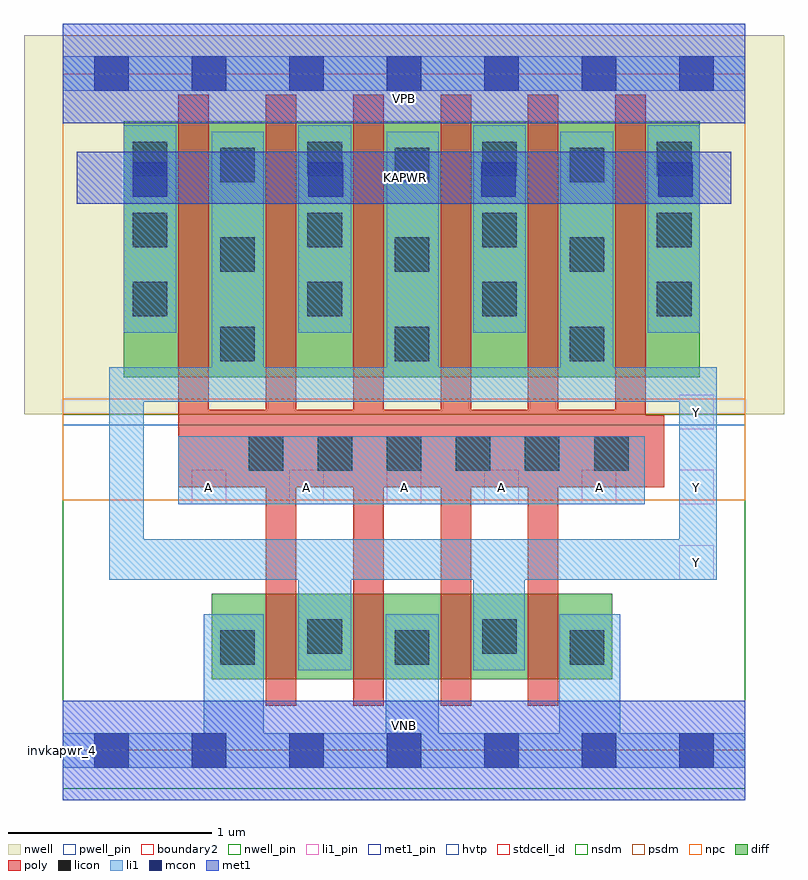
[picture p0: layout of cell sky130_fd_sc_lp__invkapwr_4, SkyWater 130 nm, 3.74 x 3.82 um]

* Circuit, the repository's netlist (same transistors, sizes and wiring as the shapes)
* Copyright 2020 The SkyWater PDK Authors
*
* Licensed under the Apache License, Version 2.0 (the "License");
* you may not use this file except in compliance with the License.
* You may obtain a copy of the License at
*
*     https://www.apache.org/licenses/LICENSE-2.0
*
* Unless required by applicable law or agreed to in writing, software
* distributed under the License is distributed on an "AS IS" BASIS,
* WITHOUT WARRANTIES OR CONDITIONS OF ANY KIND, either express or implied.
* See the License for the specific language governing permissions and
* limitations under the License.
*
* SPDX-License-Identifier: Apache-2.0

.SUBCKT sky130_fd_sc_lp__invkapwr_4 A KAPWR VGND VNB VPB VPWR Y
*.PININFO A:I KAPWR:I VGND:I VNB:I VPB:I VPWR:I Y:O
MMIP0 Y A KAPWR VPB sky130_fd_pr__pfet_01v8_hvt m=6 w=1.26U l=0.15U mult=1 sa=0.265
+ sb=0.265 sd=0.28 area=0.063 perim=1.14
MMIN0 Y A VGND VNB sky130_fd_pr__nfet_01v8 m=4 w=0.42U l=0.15U mult=1 sa=0.265
+ sb=0.265 sd=0.28 area=0.063 perim=1.14
.ENDS sky130_fd_sc_lp__invkapwr_4

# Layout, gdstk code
import gdstk
lib = gdstk.Library(unit=1e-6, precision=1e-09)
def R(c, l, rs):  # rectangles x0, y0, x1, y1
    for r in rs: c.add(gdstk.rectangle(r[:2], r[2:], *l))
def A(c, l, x, y, w, h, nx, ny, dx, dy):  # array of equal rectangles
    R(c, l, [(x+i*dx, y+j*dy, x+i*dx+w, y+j*dy+h) for i in range(nx) for j in range(ny)])
def P(c, l, *ps):  # polygons
    for p in ps: c.add(gdstk.Polygon(p, *l))
nwell_pin = (64, 16)
nwell = (64, 20)
diff = (65, 20)
poly = (66, 20)
licon = (66, 44)
li1_pin = (67, 16)
li1 = (67, 20)
mcon = (67, 44)
met1_pin = (68, 16)
met1 = (68, 20)
hvtp = (78, 44)
stdcell_id = (81, 4)
nsdm = (93, 44)
psdm = (94, 20)
npc = (95, 20)
pwell_pin = (122, 16)
boundary2 = (236, 0)

sky130_fd_sc_lp__invkapw = lib.new_cell('sky130_fd_sc_lp__invkapwr_4')
R(sky130_fd_sc_lp__invkapw, nwell_pin, [(0,3.085,3.36,3.33)])
R(sky130_fd_sc_lp__invkapw, nwell, [(-0.19,1.655,3.55,3.52)])
R(sky130_fd_sc_lp__invkapw, diff, [(0.735,0.35,2.705,0.77), (0.3,1.835,3.135,3.095)])
A(sky130_fd_sc_lp__invkapw, poly, 1, 0.22, 0.15, 1.075, 4, 1, 0.43, 0)
P(sky130_fd_sc_lp__invkapw, poly, [(2.96,1.65),(2.87,1.65),(2.87,3.225),(2.72,3.225),(2.72,1.675),(2.44,1.675),(2.44,3.225),(2.29,3.225),(2.29,1.675),(2.01,1.675),(2.01,3.225),(1.86,3.225),(1.86,1.675),(1.58,1.675),(1.58,3.225),(1.43,3.225),(1.43,1.675),(1.15,1.675),(1.15,3.225),(1,3.225),(1,1.675),(0.72,1.675),(0.72,3.225),(0.57,3.225),(0.57,1.295),(2.96,1.295)])
A(sky130_fd_sc_lp__invkapw, licon, 0.775, 0.42, 0.17, 0.17, 3, 2, 0.86, 1.495)
A(sky130_fd_sc_lp__invkapw, licon, 0.915, 1.375, 0.17, 0.17, 6, 1, 0.34, 0)
A(sky130_fd_sc_lp__invkapw, licon, 0.345, 2.135, 0.17, 0.17, 4, 2, 0.86, 0.34)
A(sky130_fd_sc_lp__invkapw, licon, 0.775, 2.355, 0.17, 0.17, 3, 2, 0.86, 0.44)
A(sky130_fd_sc_lp__invkapw, licon, 0.345, 2.825, 0.17, 0.17, 4, 1, 0.86, 0)
R(sky130_fd_sc_lp__invkapw, licon, [(1.205,0.475,1.375,0.645), (2.065,0.475,2.235,0.645)])
A(sky130_fd_sc_lp__invkapw, li1_pin, 0.635, 1.21, 0.17, 0.17, 6, 1, 0.48, 0)
R(sky130_fd_sc_lp__invkapw, li1_pin, [(3.035,0.84,3.205,1.01), (3.035,1.58,3.205,1.75)])
A(sky130_fd_sc_lp__invkapw, li1, 0.3, 2.055, 0.26, 1.02, 3, 1, 0.86, 0)
R(sky130_fd_sc_lp__invkapw, li1, [(0,-0.085,3.36,0.085), (0.695,0.085,0.99,0.67), (1.59,0.085,1.85,0.67), (2.445,0.085,2.745,0.67), (0.57,1.21,2.865,1.545), (2.88,2.055,3.135,3.075), (0,3.245,3.36,3.415)])
P(sky130_fd_sc_lp__invkapw, li1, [(3.22,1.885),(3.035,1.885),(3.035,1.04),(0.4,1.04),(0.4,1.715),(3.035,1.715),(3.035,1.885),(2.71,1.885),(2.71,3.045),(2.45,3.045),(2.45,1.885),(1.85,1.885),(1.85,3.045),(1.595,3.045),(1.595,1.885),(0.99,1.885),(0.99,3.045),(0.735,3.045),(0.735,1.885),(0.23,1.885),(0.23,0.84),(1.16,0.84),(1.16,0.395),(1.42,0.395),(1.42,0.84),(2.02,0.84),(2.02,0.395),(2.275,0.395),(2.275,0.84),(3.22,0.84)])
A(sky130_fd_sc_lp__invkapw, mcon, 0.155, -0.085, 0.17, 0.17, 7, 2, 0.48, 3.33)
R(sky130_fd_sc_lp__invkapw, mcon, [(0.345,2.725,0.515,2.895), (1.21,2.725,1.38,2.895), (2.06,2.725,2.23,2.895), (2.93,2.725,3.1,2.895)])
R(sky130_fd_sc_lp__invkapw, met1_pin, [(0,0,3.36,0.245), (0.07,2.69,3.29,2.945), (0,3.085,3.36,3.33)])
R(sky130_fd_sc_lp__invkapw, met1, [(0,-0.245,3.36,0.245), (0.07,2.69,3.29,2.945), (0,3.085,3.36,3.575)])
R(sky130_fd_sc_lp__invkapw, hvtp, [(0,1.6,3.36,3.33)])
R(sky130_fd_sc_lp__invkapw, stdcell_id, [(0,0,3.36,3.33)])
R(sky130_fd_sc_lp__invkapw, nsdm, [(0,-0.19,3.36,1.655)])
R(sky130_fd_sc_lp__invkapw, psdm, [(0,1.655,3.36,3.52)])
R(sky130_fd_sc_lp__invkapw, npc, [(0,1.23,3.36,1.73)])
R(sky130_fd_sc_lp__invkapw, pwell_pin, [(0,0,3.36,0.245)])
R(sky130_fd_sc_lp__invkapw, boundary2, [(0,0,3.36,3.33)])
sky130_fd_sc_lp__invkapw.add(gdstk.Label('VNB', (1.68,0.123), layer=64, texttype=59))
sky130_fd_sc_lp__invkapw.add(gdstk.Label('VPB', (1.68,3.208), layer=64, texttype=5))
sky130_fd_sc_lp__invkapw.add(gdstk.Label('invkapwr_4', (0,0), layer=83, texttype=44))
sky130_fd_sc_lp__invkapw.add(gdstk.Label('VPWR', (1.68,3.208), layer=68, texttype=5))
sky130_fd_sc_lp__invkapw.add(gdstk.Label('VGND', (1.68,0.123), layer=68, texttype=5))
sky130_fd_sc_lp__invkapw.add(gdstk.Label('KAPWR', (1.685,2.82), layer=68, texttype=5))
sky130_fd_sc_lp__invkapw.add(gdstk.Label('KAPWR', (1.685,2.82), layer=68, texttype=5))
sky130_fd_sc_lp__invkapw.add(gdstk.Label('A', (2.16,1.295), layer=67, texttype=5))
sky130_fd_sc_lp__invkapw.add(gdstk.Label('A', (2.64,1.295), layer=67, texttype=5))
sky130_fd_sc_lp__invkapw.add(gdstk.Label('Y', (3.12,0.925), layer=67, texttype=5))
sky130_fd_sc_lp__invkapw.add(gdstk.Label('Y', (3.12,1.295), layer=67, texttype=5))
sky130_fd_sc_lp__invkapw.add(gdstk.Label('A', (0.72,1.295), layer=67, texttype=5))
sky130_fd_sc_lp__invkapw.add(gdstk.Label('A', (1.68,1.295), layer=67, texttype=5))
sky130_fd_sc_lp__invkapw.add(gdstk.Label('A', (1.2,1.295), layer=67, texttype=5))
sky130_fd_sc_lp__invkapw.add(gdstk.Label('Y', (3.12,1.665), layer=67, texttype=5))

lib.write_gds('sky130_fd_sc_lp__invkapwr_4.gds')
